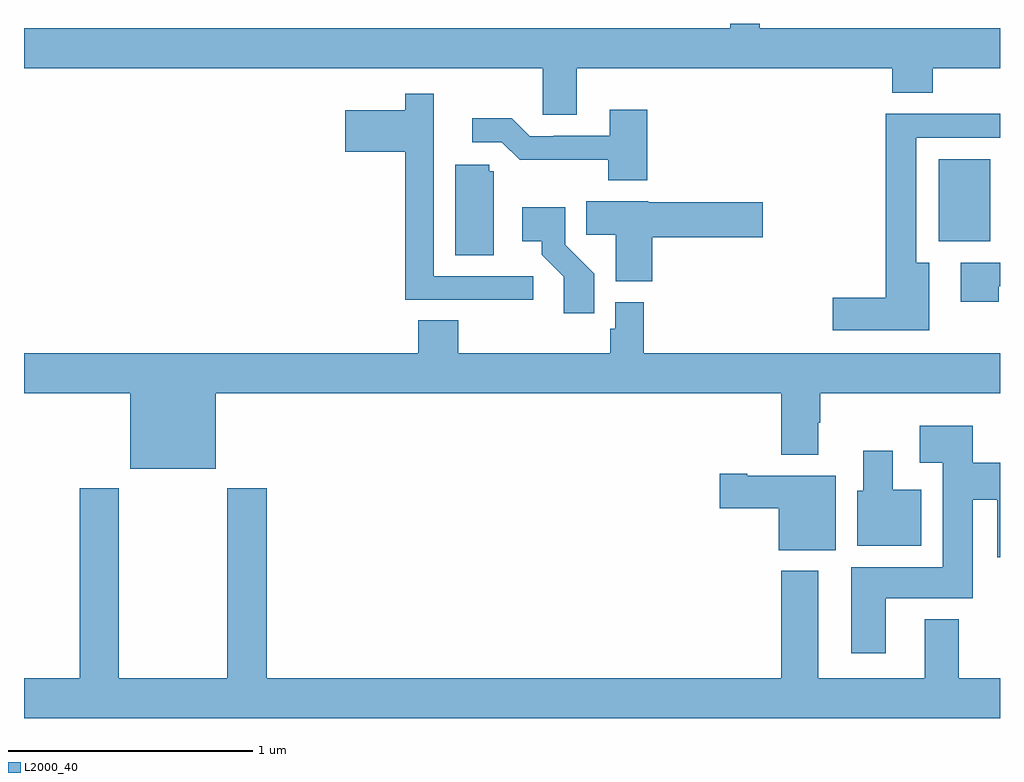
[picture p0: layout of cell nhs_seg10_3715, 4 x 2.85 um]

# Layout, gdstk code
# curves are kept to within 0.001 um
import gdstk
lib = gdstk.Library(unit=1e-6, precision=1e-09)
def R(c, l, rs):  # rectangles x0, y0, x1, y1
    for r in rs: c.add(gdstk.rectangle(r[:2], r[2:], *l))
def P(c, l, *ps):  # polygons
    for p in ps: c.add(gdstk.Polygon(p, *l))
L2000_40 = (2000, 40)

nhs_seg10_3715 = lib.new_cell('nhs_seg10_3715')
R(nhs_seg10_3715, L2000_40, [(316.748,1299.608,316.96,1299.943)])
P(nhs_seg10_3715, L2000_40, [(315.265,1300.316),(316.559,1300.316),(316.559,1300.217),(316.724,1300.217),(316.724,1300.316),(317,1300.316),(317,1300.48),(316.015,1300.48),(316.015,1300.5),(315.894,1300.5),(315.894,1300.48),(313,1300.48),(313,1300.316),(315.126,1300.316),(315.126,1300.126),(315.265,1300.126)],
  [(315.088,1299.465),(314.679,1299.465),(314.679,1299.99),(314.68,1299.99),(314.68,1300.213),(314.563,1300.213),(314.563,1300.144),(314.316,1300.144),(314.316,1299.974),(314.563,1299.974),(314.563,1299.369),(314.863,1299.369),(314.863,1299.367),(315.088,1299.367)],
  [(315.554,1300.147),(315.401,1300.147),(315.401,1300.041),(315.172,1300.041),(315.172,1300.038),(315.072,1300.038),(314.999,1300.111),(314.838,1300.111),(314.838,1300.014),(314.958,1300.014),(315.031,1299.941),(315.394,1299.942),(315.394,1299.857),(315.554,1299.857)],
  [(316.711,1299.52),(316.657,1299.52),(316.657,1300.032),(317,1300.032),(317,1300.13),(316.532,1300.13),(316.532,1299.377),(316.314,1299.377),(316.314,1299.242),(316.711,1299.242)],
  [(314.926,1299.894),(314.907,1299.894),(314.907,1299.921),(314.768,1299.921),(314.768,1299.55),(314.926,1299.55)],
  [(315.575,1299.625),(316.027,1299.625),(316.027,1299.767),(315.558,1299.767),(315.558,1299.772),(315.304,1299.772),(315.304,1299.634),(315.425,1299.634),(315.425,1299.443),(315.575,1299.443)],
  [(315.338,1299.474),(315.219,1299.593),(315.219,1299.748),(315.042,1299.748),(315.042,1299.608),(315.122,1299.608),(315.122,1299.553),(315.213,1299.463),(315.213,1299.312),(315.338,1299.312)],
  [(316.995,1299.423),(317,1299.423),(317,1299.519),(316.839,1299.519),(316.839,1299.36),(316.995,1299.36)],
  [(313.786,1298.984),(316.103,1298.984),(316.103,1298.732),(316.255,1298.732),(316.255,1298.864),(316.263,1298.864),(316.263,1298.984),(317,1298.984),(317,1299.148),(315.539,1299.148),(315.539,1299.358),(315.423,1299.358),(315.423,1299.249),(315.403,1299.249),(315.403,1299.148),(314.78,1299.148),(314.78,1299.284),(314.615,1299.284),(314.615,1299.148),(313,1299.148),(313,1298.984),(313.436,1298.984),(313.436,1298.675),(313.786,1298.675)],
  [(316.531,1298.144),(316.888,1298.144),(316.888,1298.549),(316.988,1298.549),(316.988,1298.313),(317,1298.313),(317,1298.701),(316.888,1298.701),(316.888,1298.851),(316.671,1298.851),(316.671,1298.699),(316.766,1298.699),(316.766,1298.272),(316.391,1298.272),(316.391,1297.92),(316.531,1297.92)],
  [(316.678,1298.59),(316.561,1298.59),(316.561,1298.749),(316.439,1298.749),(316.439,1298.586),(316.415,1298.586),(316.415,1298.36),(316.678,1298.36)],
  [(316.327,1298.647),(315.964,1298.647),(315.964,1298.655),(315.852,1298.655),(315.852,1298.513),(316.094,1298.513),(316.094,1298.342),(316.327,1298.342)],
  [(317,1297.816),(316.831,1297.816),(316.831,1298.059),(316.691,1298.059),(316.691,1297.816),(316.255,1297.816),(316.255,1298.257),(316.103,1298.257),(316.103,1297.816),(313.994,1297.816),(313.994,1298.596),(313.834,1298.596),(313.834,1297.816),(313.389,1297.816),(313.389,1298.596),(313.229,1298.596),(313.229,1297.816),(313,1297.816),(313,1297.652),(317,1297.652)])

lib.write_gds('nhs_seg10_3715.gds')
